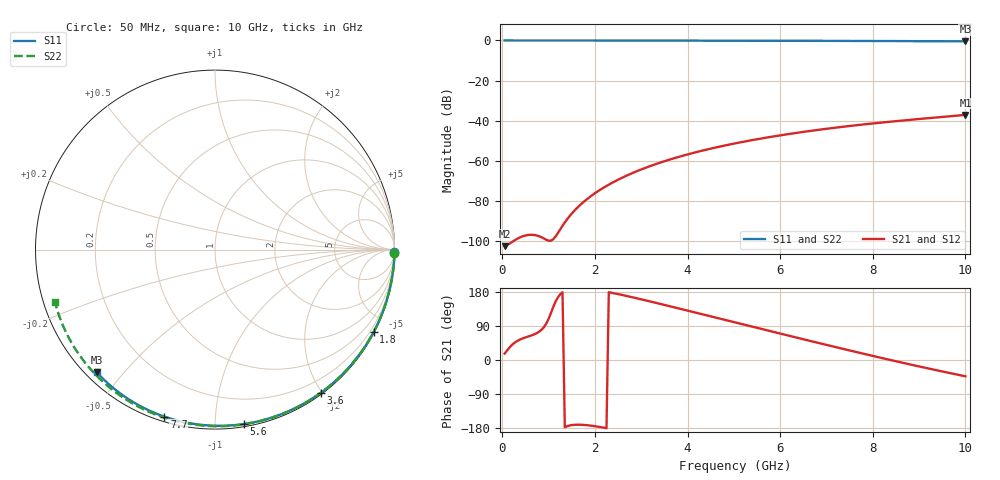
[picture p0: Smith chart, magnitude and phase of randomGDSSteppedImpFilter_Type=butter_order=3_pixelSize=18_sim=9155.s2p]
! freq	dB(S11)	phase(S11)	dB(S12)	phase(S12)
!  dB(S21)	phase(S21)	dB(S22)	phase(S22)
!S-par simulation data
#  GHz  S  DB  R 50
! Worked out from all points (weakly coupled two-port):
!   200 points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, 50 MHz to 10 GHz, reference 50 ohm
!   highest |S21| = -37.15 dB at 10 GHz (marker M1); lowest = -102.7 dB at 50 MHz (marker M2)
!   lowest |S11| = -0.5 dB at 10 GHz (marker M3), VSWR 38.33, Z = 1.54 - j21.2 ohm
!   |S11| at or under -10 dB: nowhere
!   |S22| runs from -0.6 to 0.0 dB; largest |S21 - S12| = 0
!   S11 on the Smith chart (normalised r, x): 50 MHz: open; 1.8 GHz: 0.04, -4.11; 3.6 GHz: 0.02, -1.98; 5.6 GHz: 0.02, -1.18; 7.7 GHz: 0.02, -0.74; 10 GHz: 0.03, -0.42
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0.05  -0.00 -0.8  -102.68 16.8  -102.68 16.8  -0.00 -0.9
0.45  -0.01 -6.9  -97.67 57.4  -97.67 57.4  -0.01 -8.5
0.85  -0.02 -13.1  -98.26 80.1  -98.26 80.1  -0.02 -16.0
1.3  -0.02 -19.9  -92.51 178.7  -92.51 178.7  -0.03 -24.3
1.75  -0.03 -26.6  -80.70 -171.2  -80.70 -171.2  -0.04 -32.5
1.8  -0.03 -27.4  -79.74 -171.7  -79.74 -171.7  -0.04 -33.4
1.95  -0.04 -29.6  -77.08 -173.8  -77.08 -173.8  -0.05 -36.1
2.1  -0.04 -31.8  -74.73 -176.6  -74.73 -176.6  -0.05 -38.8
2.3  -0.04 -34.8  -71.96 178.9  -71.96 178.9  -0.05 -42.4
2.5  -0.05 -37.7  -69.51 173.9  -69.51 173.9  -0.06 -46.0
2.9  -0.06 -43.5  -65.31 163.0  -65.31 163.0  -0.07 -53.0
3.4  -0.07 -50.7  -61.04 148.4  -61.04 148.4  -0.08 -61.5
3.6  -0.07 -53.5  -59.55 142.4  -59.55 142.4  -0.09 -64.9
4.3  -0.09 -63.2  -55.09 121.2  -55.09 121.2  -0.11 -76.5
5.05  -0.11 -73.4  -51.27 98.3  -51.27 98.3  -0.14 -88.5
5.6  -0.13 -80.6  -48.90 81.7  -48.90 81.7  -0.16 -97.0
6.15  -0.16 -87.7  -46.83 65.2  -46.83 65.2  -0.19 -105.4
6.7  -0.18 -94.6  -44.99 48.8  -44.99 48.8  -0.22 -113.6
7.7  -0.24 -106.8  -42.17 19.4  -42.17 19.4  -0.29 -128.1
8.35  -0.29 -114.6  -40.61 0.9  -40.61 0.9  -0.35 -137.4
9.2  -0.37 -124.6  -38.79 -22.3  -38.79 -22.3  -0.44 -149.7
10  -0.45 -134.0  -37.15 -43.0  -37.15 -43.0  -0.56 -161.7
